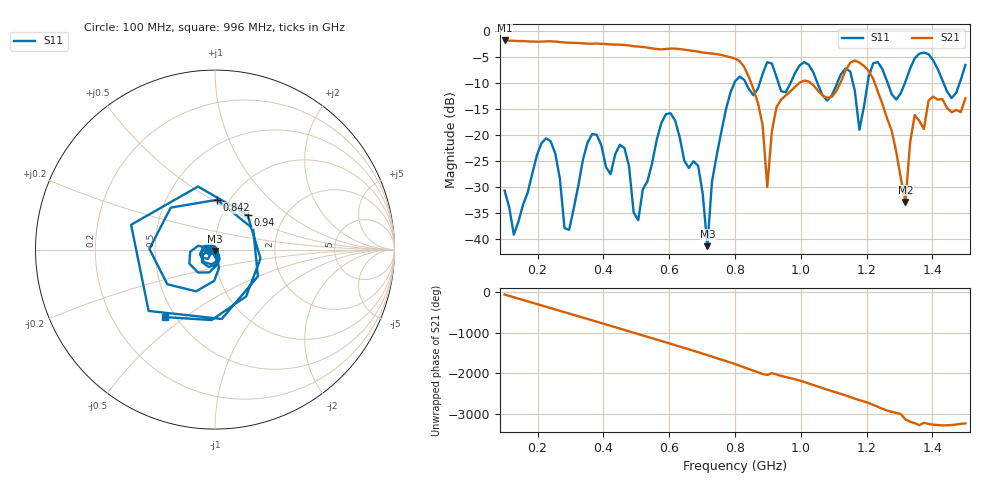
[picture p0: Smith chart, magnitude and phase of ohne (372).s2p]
! NanoVNA-App
! Date: 2025-09-25 14:23:41
! Start: 100MHz Stop: 1,5GHz Points: 101
! S-Parameter data: F S11 S21 S12 S22
# Hz S RI R 50
!  Frequency  S11_Real  S11_Imag  S21_Real  S21_Imag  S12_Real  S12_Imag  S22_Real  S22_Imag
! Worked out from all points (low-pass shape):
!   101 points, 100 MHz to 1.5 GHz, reference 50 ohm
!   highest |S21| = -1.79 dB at 100 MHz (marker M1); lowest = -32.8 dB at 1.318 GHz (marker M2)
!   |S21| within 3 dB of the highest: start of sweep to 771.5 MHz
!   lowest |S11| = -41.3 dB at 716 MHz (marker M3), VSWR 1.02, Z = 49.8 - j0.83 ohm
!   |S11| at or under -10 dB: start of sweep to 797.9 MHz; 833 MHz to 875 MHz (42.01 MHz wide, 4.92 % of centre); 1.051 GHz to 1.111 GHz (59.93 MHz wide, 5.55 % of centre) (the widest 3 of 7)
!   S12 and S22 are empty: the file has one direction only
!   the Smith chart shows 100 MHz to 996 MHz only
!   S11 on the Smith chart (normalised r, x): 100 MHz: 0.94, -0.01; 842 MHz: 0.88, +0.53; 940 MHz: 1.32, +0.55; 996 MHz: 0.44, -0.42
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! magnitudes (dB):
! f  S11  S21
! 100 MHz  -30.6  -1.8
! 128 MHz  -39.1  -1.9
! 226 MHz  -20.6  -2.0
! 296 MHz  -38.2  -2.2
! 338 MHz  -24.7  -2.3
! 464 MHz  -22.5  -2.7
! 506 MHz  -36.3  -3.0
! 576 MHz  -17.7  -3.5
! 688 MHz  -25.9  -3.9
! 716 MHz  -41.3  -4.2
! 800 MHz  -9.7  -5.3
! 842 MHz  -11.1  -8.8
! 898 MHz  -6.0  -30.0
! 940 MHz  -11.5  -13.2
! 996 MHz  -6.6  -9.9
! 1.038 GHz  -7.9  -10.4
! 1.178 GHz  -19.0  -6.0
! 1.22 GHz  -6.2  -9.2
! 1.276 GHz  -12.1  -19.1
! 1.318 GHz  -9.7  -32.8
! 1.346 GHz  -5.2  -16.1
! 1.5 GHz  -6.5  -12.9
